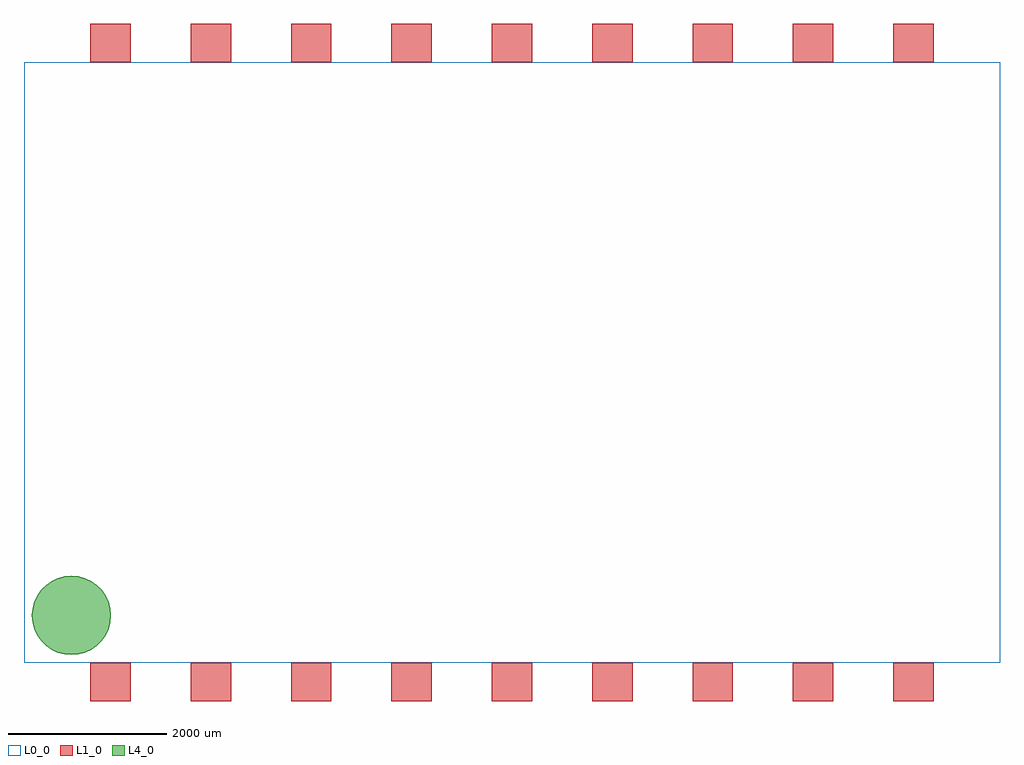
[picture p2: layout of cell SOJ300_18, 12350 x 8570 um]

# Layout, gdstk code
import gdstk
lib = gdstk.Library(unit=1e-6, precision=1e-09)
def R(c, l, rs):  # rectangles x0, y0, x1, y1
    for r in rs: c.add(gdstk.rectangle(r[:2], r[2:], *l))
def A(c, l, x, y, w, h, nx, ny, dx, dy):  # array of equal rectangles
    R(c, l, [(x+i*dx, y+j*dy, x+i*dx+w, y+j*dy+h) for i in range(nx) for j in range(ny)])
def P(c, l, *ps):  # polygons
    for p in ps: c.add(gdstk.Polygon(p, *l))
L0_0 = (0, 0)
L1_0 = (1, 0)
L4_0 = (4, 0)
L99_1 = (99, 1)
L99_2 = (99, 2)
L99_3 = (99, 3)
L99_4 = (99, 4)
L99_5 = (99, 5)
L99_6 = (99, 6)
L99_7 = (99, 7)
L99_8 = (99, 8)
L99_9 = (99, 9)
L99_10 = (99, 10)
L99_11 = (99, 11)
L99_12 = (99, 12)
L99_13 = (99, 13)
L99_14 = (99, 14)
L99_15 = (99, 15)
L99_16 = (99, 16)
L99_17 = (99, 17)
L99_18 = (99, 18)

soj300_18 = lib.new_cell('SOJ300_18')
R(soj300_18, L0_0, [(0,0,12350,7600)])
A(soj300_18, L1_0, 840, -485, 510, 485, 9, 2, 1270, 8085)
P(soj300_18, L4_0, [(1100,600),(1092.404,513.176),(1069.846,428.99),(1033.013,350),(983.022,278.606),(921.394,216.978),(850,166.987),(771.01,130.154),(686.824,107.596),(600,100),(513.176,107.596),(428.99,130.154),(350,166.987),(278.606,216.978),(216.978,278.606),(166.987,350),(130.154,428.99),(107.596,513.176),(100,600),(107.596,686.824),(130.154,771.01),(166.987,850),(216.978,921.394),(278.606,983.022),(350,1033.013),(428.99,1069.846),(513.176,1092.404),(600,1100),(686.824,1092.404),(771.01,1069.846),(850,1033.013),(921.394,983.022),(983.022,921.394),(1033.013,850),(1069.846,771.01),(1092.404,686.824)])
soj300_18.add(gdstk.FlexPath([(1350,0),(840,0)], 0, ends="round", simple_path=True, layer=99, datatype=1))  # L99_1
soj300_18.add(gdstk.FlexPath([(2620,0),(2110,0)], 0, ends="round", simple_path=True, layer=99, datatype=2))  # L99_2
soj300_18.add(gdstk.FlexPath([(3890,0),(3380,0)], 0, ends="round", simple_path=True, layer=99, datatype=3))  # L99_3
soj300_18.add(gdstk.FlexPath([(5160,0),(4650,0)], 0, ends="round", simple_path=True, layer=99, datatype=4))  # L99_4
soj300_18.add(gdstk.FlexPath([(6430,0),(5920,0)], 0, ends="round", simple_path=True, layer=99, datatype=5))  # L99_5
soj300_18.add(gdstk.FlexPath([(7700,0),(7190,0)], 0, ends="round", simple_path=True, layer=99, datatype=6))  # L99_6
soj300_18.add(gdstk.FlexPath([(8970,0),(8460,0)], 0, ends="round", simple_path=True, layer=99, datatype=7))  # L99_7
soj300_18.add(gdstk.FlexPath([(10240,0),(9730,0)], 0, ends="round", simple_path=True, layer=99, datatype=8))  # L99_8
soj300_18.add(gdstk.FlexPath([(11510,0),(11000,0)], 0, ends="round", simple_path=True, layer=99, datatype=9))  # L99_9
soj300_18.add(gdstk.FlexPath([(840,7600),(1350,7600)], 0, ends="round", simple_path=True, layer=99, datatype=18))  # L99_18
soj300_18.add(gdstk.FlexPath([(2110,7600),(2620,7600)], 0, ends="round", simple_path=True, layer=99, datatype=17))  # L99_17
soj300_18.add(gdstk.FlexPath([(3380,7600),(3890,7600)], 0, ends="round", simple_path=True, layer=99, datatype=16))  # L99_16
soj300_18.add(gdstk.FlexPath([(4650,7600),(5160,7600)], 0, ends="round", simple_path=True, layer=99, datatype=15))  # L99_15
soj300_18.add(gdstk.FlexPath([(5920,7600),(6430,7600)], 0, ends="round", simple_path=True, layer=99, datatype=14))  # L99_14
soj300_18.add(gdstk.FlexPath([(7190,7600),(7700,7600)], 0, ends="round", simple_path=True, layer=99, datatype=13))  # L99_13
soj300_18.add(gdstk.FlexPath([(8460,7600),(8970,7600)], 0, ends="round", simple_path=True, layer=99, datatype=12))  # L99_12
soj300_18.add(gdstk.FlexPath([(9730,7600),(10240,7600)], 0, ends="round", simple_path=True, layer=99, datatype=11))  # L99_11
soj300_18.add(gdstk.FlexPath([(11000,7600),(11510,7600)], 0, ends="round", simple_path=True, layer=99, datatype=10))  # L99_10

lib.write_gds('SOJ300_18.gds')
